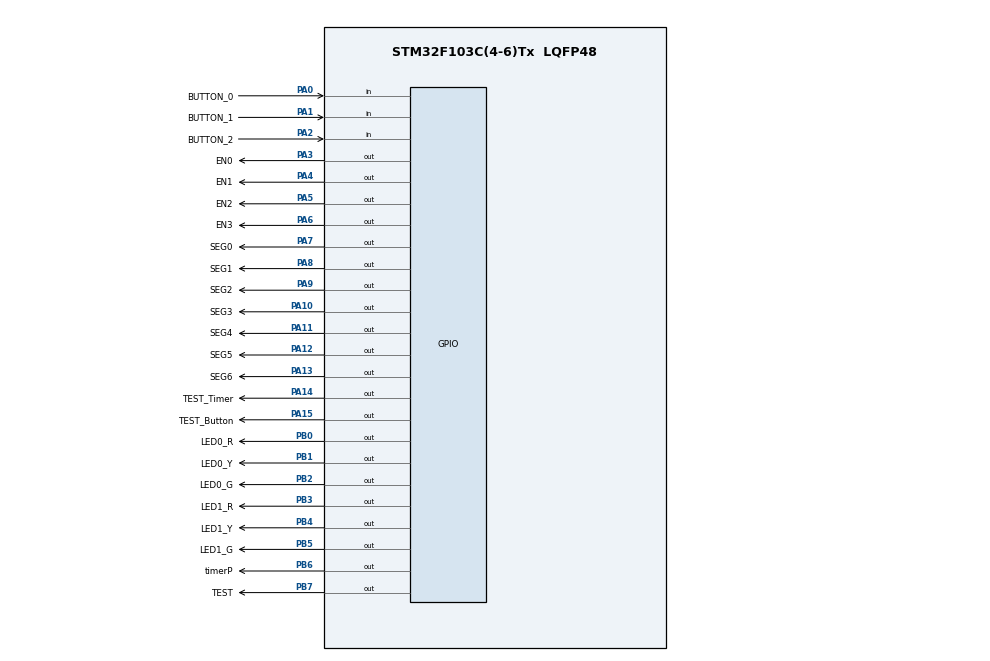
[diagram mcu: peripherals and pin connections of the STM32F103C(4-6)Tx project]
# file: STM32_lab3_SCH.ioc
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IWDG.Reload=1499
Mcu.Family=STM32F1
Mcu.Name=STM32F103C(4-6)Tx
Mcu.Package=LQFP48
NVIC.PriorityGroup=NVIC_PRIORITYGROUP_4
NVIC.TIM2_IRQn=true\:0\:0\:false\:false\:true\:true\:true
PA0-WKUP.GPIO_Label=BUTTON_0
PA0-WKUP.GPIO_PuPd=GPIO_PULLUP
PA0-WKUP.Signal=GPIO_Input
PA1.GPIO_Label=BUTTON_1
PA1.GPIO_PuPd=GPIO_PULLUP
PA1.Signal=GPIO_Input
PA10.GPIO_Label=SEG3
PA10.Signal=GPIO_Output
PA11.GPIO_Label=SEG4
PA11.Signal=GPIO_Output
PA12.GPIO_Label=SEG5
PA12.Signal=GPIO_Output
PA13.GPIO_Label=SEG6
PA13.Signal=GPIO_Output
PA14.GPIO_Label=TEST_Timer
PA14.Signal=GPIO_Output
PA15.GPIO_Label=TEST_Button
PA15.Signal=GPIO_Output
PA2.GPIO_Label=BUTTON_2
PA2.GPIO_PuPd=GPIO_PULLUP
PA2.Signal=GPIO_Input
PA3.GPIO_Label=EN0
PA3.Signal=GPIO_Output
PA4.GPIO_Label=EN1
PA4.Signal=GPIO_Output
PA5.GPIO_Label=EN2
PA5.Signal=GPIO_Output
PA6.GPIO_Label=EN3
PA6.Signal=GPIO_Output
PA7.GPIO_Label=SEG0
PA7.Signal=GPIO_Output
PA8.GPIO_Label=SEG1
PA8.Signal=GPIO_Output
PA9.GPIO_Label=SEG2
PA9.Signal=GPIO_Output
PB0.GPIO_Label=LED0_R
PB0.Signal=GPIO_Output
PB1.GPIO_Label=LED0_Y
PB1.Signal=GPIO_Output
PB2.GPIO_Label=LED0_G
PB2.Signal=GPIO_Output
PB3.GPIO_Label=LED1_R
PB3.Signal=GPIO_Output
PB4.GPIO_Label=LED1_Y
PB4.Signal=GPIO_Output
PB5.GPIO_Label=LED1_G
PB5.Signal=GPIO_Output
PB6.GPIO_Label=timerP
PB6.Signal=GPIO_Output
PB7.GPIO_Label=TEST
PB7.Signal=GPIO_Output
ProjectManager.HeapSize=0x200
ProjectManager.StackSize=0x400
ProjectManager.TargetToolchain=STM32CubeIDE
RCC.APB1CLKDivider=RCC_HCLK_DIV2
RCC.APB1Freq_Value=4000000
RCC.APB1TimFreq_Value=8000000
RCC.APB2CLKDivider=RCC_HCLK_DIV2
RCC.APB2Freq_Value=4000000
RCC.APB2TimFreq_Value=8000000
TIM2.Period=9
TIM2.Prescaler=7999
VP_IWDG_VS_IWDG.Mode=IWDG_Activate
VP_SYS_VS_ND.Mode=No_Debug
VP_TIM2_VS_ClockSourceINT.Mode=Internal
board=custom

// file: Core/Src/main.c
/* USER CODE BEGIN Header */
/**
  ******************************************************************************
  * @file           : main.c
  * @brief          : Main program body
  ******************************************************************************
  * @attention
  *
  * <h2><center>&copy; Copyright (c) 2024 STMicroelectronics.
  * All rights reserved.</center></h2>
  *
  * This software component is licensed by ST under BSD 3-Clause license,
  * the "License"; You may not use this file except in compliance with the
  * License. You may obtain a copy of the License at:
  *                        opensource.org/licenses/BSD-3-Clause
  *
  ******************************************************************************
  */
/* USER CODE END Header */
#include "main.h"

/* USER CODE BEGIN Includes */
#include "stdlib.h"
#include "SCH_Task.h"
#include "Scheduler.h"
#include "fsm_input_driven.h"
#include "fsm_run.h"
#include "traffic_light.h"
#include "input_reading.h"
#include "global.h"
/* USER CODE END Includes */

IWDG_HandleTypeDef hiwdg;

TIM_HandleTypeDef htim2;

void SystemClock_Config(void);
static void MX_GPIO_Init(void);
static void MX_TIM2_Init(void);
static void MX_IWDG_Init(void);

int main(void)
{

  /* MCU Configuration--------------------------------------------------------*/

  /* Reset of all peripherals, Initializes the Flash interface and the Systick. */
  HAL_Init();

  /* Configure the system clock */
  SystemClock_Config();

  /* Initialize all configured peripherals */
  MX_GPIO_Init();
  MX_TIM2_Init();
  MX_IWDG_Init();
  /* USER CODE BEGIN 2 */
#ifdef P_CLOCK
  p_clockSet(200);
#endif
  /* USER CODE END 2 */

  /* Infinite loop */
  /* USER CODE BEGIN WHILE */
  HAL_GPIO_WritePin(timerP_GPIO_Port, timerP_Pin, SET);
  HAL_GPIO_WritePin(TEST_Timer_GPIO_Port, TEST_Timer_Pin, SET);
  HAL_GPIO_WritePin(TEST_GPIO_Port, TEST_Pin, SET);
  SCH_Init();
  SCH_AddTask(LedBlinky, 20, 100);
  SCH_AddTask(display7segment, 30, 20);
  while (1)
  {
    /* USER CODE END WHILE */

    /* USER CODE BEGIN 3 */
#ifdef P_CLOCK
	  if(p_flag == 1){
		  HAL_GPIO_TogglePin(timerP_GPIO_Port, timerP_Pin);
		  p_clockSet(1000);
	  }
#endif
//	  UNIT TEST
//	  unit_test_7seg();
	  unit_test_button_press();
//	  unit_test_button_read();
//	  SCH
	  SCH_Dispatch();
//	   FSM
	  fsm_run(m_mode);
  }
  /* USER CODE END 3 */
}

void SystemClock_Config(void)
{
  RCC_OscInitTypeDef RCC_OscInitStruct = {0};
  RCC_ClkInitTypeDef RCC_ClkInitStruct = {0};

  /** Initializes the RCC Oscillators according to the specified parameters
  * in the RCC_OscInitTypeDef structure.
  */
  RCC_OscInitStruct.OscillatorType = RCC_OSCILLATORTYPE_HSI|RCC_OSCILLATORTYPE_LSI;
  RCC_OscInitStruct.HSIState = RCC_HSI_ON;
  RCC_OscInitStruct.HSICalibrationValue = RCC_HSICALIBRATION_DEFAULT;
  RCC_OscInitStruct.LSIState = RCC_LSI_ON;
  RCC_OscInitStruct.PLL.PLLState = RCC_PLL_NONE;
  if (HAL_RCC_OscConfig(&RCC_OscInitStruct) != HAL_OK)
  {
    Error_Handler();
  }
  /** Initializes the CPU, AHB and APB buses clocks
  */
  RCC_ClkInitStruct.ClockType = RCC_CLOCKTYPE_HCLK|RCC_CLOCKTYPE_SYSCLK
                              |RCC_CLOCKTYPE_PCLK1|RCC_CLOCKTYPE_PCLK2;
  RCC_ClkInitStruct.SYSCLKSource = RCC_SYSCLKSOURCE_HSI;
  RCC_ClkInitStruct.AHBCLKDivider = RCC_SYSCLK_DIV1;
  RCC_ClkInitStruct.APB1CLKDivider = RCC_HCLK_DIV2;
  RCC_ClkInitStruct.APB2CLKDivider = RCC_HCLK_DIV2;

  if (HAL_RCC_ClockConfig(&RCC_ClkInitStruct, FLASH_LATENCY_0) != HAL_OK)
  {
    Error_Handler();
  }
}

static void MX_IWDG_Init(void)
{

  hiwdg.Instance = IWDG;
  hiwdg.Init.Prescaler = IWDG_PRESCALER_4;
  hiwdg.Init.Reload = 1499;
  if (HAL_IWDG_Init(&hiwdg) != HAL_OK)
  {
    Error_Handler();
  }

}

static void MX_TIM2_Init(void)
{

  TIM_ClockConfigTypeDef sClockSourceConfig = {0};
  TIM_MasterConfigTypeDef sMasterConfig = {0};

  htim2.Instance = TIM2;
  htim2.Init.Prescaler = 7999;
  htim2.Init.CounterMode = TIM_COUNTERMODE_UP;
  htim2.Init.Period = 9;
  htim2.Init.ClockDivision = TIM_CLOCKDIVISION_DIV1;
  htim2.Init.AutoReloadPreload = TIM_AUTORELOAD_PRELOAD_DISABLE;
  if (HAL_TIM_Base_Init(&htim2) != HAL_OK)
  {
    Error_Handler();
  }
  sClockSourceConfig.ClockSource = TIM_CLOCKSOURCE_INTERNAL;
  if (HAL_TIM_ConfigClockSource(&htim2, &sClockSourceConfig) != HAL_OK)
  {
    Error_Handler();
  }
  sMasterConfig.MasterOutputTrigger = TIM_TRGO_RESET;
  sMasterConfig.MasterSlaveMode = TIM_MASTERSLAVEMODE_DISABLE;
  if (HAL_TIMEx_MasterConfigSynchronization(&htim2, &sMasterConfig) != HAL_OK)
  {
    Error_Handler();
  }

}

static void MX_GPIO_Init(void)
{
  GPIO_InitTypeDef GPIO_InitStruct = {0};

  /* GPIO Ports Clock Enable */
  __HAL_RCC_GPIOA_CLK_ENABLE();
  __HAL_RCC_GPIOB_CLK_ENABLE();

  /*Configure GPIO pin Output Level */
  HAL_GPIO_WritePin(GPIOA, EN0_Pin|EN1_Pin|EN2_Pin|EN3_Pin
                          |SEG0_Pin|SEG1_Pin|SEG2_Pin|SEG3_Pin
                          |SEG4_Pin|SEG5_Pin|SEG6_Pin|TEST_Timer_Pin
                          |TEST_Button_Pin, GPIO_PIN_RESET);

  /*Configure GPIO pin Output Level */
  HAL_GPIO_WritePin(GPIOB, LED0_R_Pin|LED0_Y_Pin|LED0_G_Pin|LED1_R_Pin
                          |LED1_Y_Pin|LED1_G_Pin|timerP_Pin|TEST_Pin, GPIO_PIN_RESET);

  /*Configure GPIO pins : BUTTON_0_Pin BUTTON_1_Pin BUTTON_2_Pin */
  GPIO_InitStruct.Pin = BUTTON_0_Pin|BUTTON_1_Pin|BUTTON_2_Pin;
  GPIO_InitStruct.Mode = GPIO_MODE_INPUT;
  GPIO_InitStruct.Pull = GPIO_PULLUP;
  HAL_GPIO_Init(GPIOA, &GPIO_InitStruct);

  /*Configure GPIO pins : EN0_Pin EN1_Pin EN2_Pin EN3_Pin
                           SEG0_Pin SEG1_Pin SEG2_Pin SEG3_Pin
                           SEG4_Pin SEG5_Pin SEG6_Pin TEST_Timer_Pin
                           TEST_Button_Pin */
  GPIO_InitStruct.Pin = EN0_Pin|EN1_Pin|EN2_Pin|EN3_Pin
                          |SEG0_Pin|SEG1_Pin|SEG2_Pin|SEG3_Pin
                          |SEG4_Pin|SEG5_Pin|SEG6_Pin|TEST_Timer_Pin
                          |TEST_Button_Pin;
  GPIO_InitStruct.Mode = GPIO_MODE_OUTPUT_PP;
  GPIO_InitStruct.Pull = GPIO_NOPULL;
  GPIO_InitStruct.Speed = GPIO_SPEED_FREQ_LOW;
  HAL_GPIO_Init(GPIOA, &GPIO_InitStruct);

  /*Configure GPIO pins : LED0_R_Pin LED0_Y_Pin LED0_G_Pin LED1_R_Pin
                           LED1_Y_Pin LED1_G_Pin timerP_Pin TEST_Pin */
  GPIO_InitStruct.Pin = LED0_R_Pin|LED0_Y_Pin|LED0_G_Pin|LED1_R_Pin
                          |LED1_Y_Pin|LED1_G_Pin|timerP_Pin|TEST_Pin;
  GPIO_InitStruct.Mode = GPIO_MODE_OUTPUT_PP;
  GPIO_InitStruct.Pull = GPIO_NOPULL;
  GPIO_InitStruct.Speed = GPIO_SPEED_FREQ_LOW;
  HAL_GPIO_Init(GPIOB, &GPIO_InitStruct);

}

void Error_Handler(void)
{
  __disable_irq();
  while (1)
  {
  }
}

/************************ (C) COPYRIGHT STMicroelectronics *****END OF FILE****/
